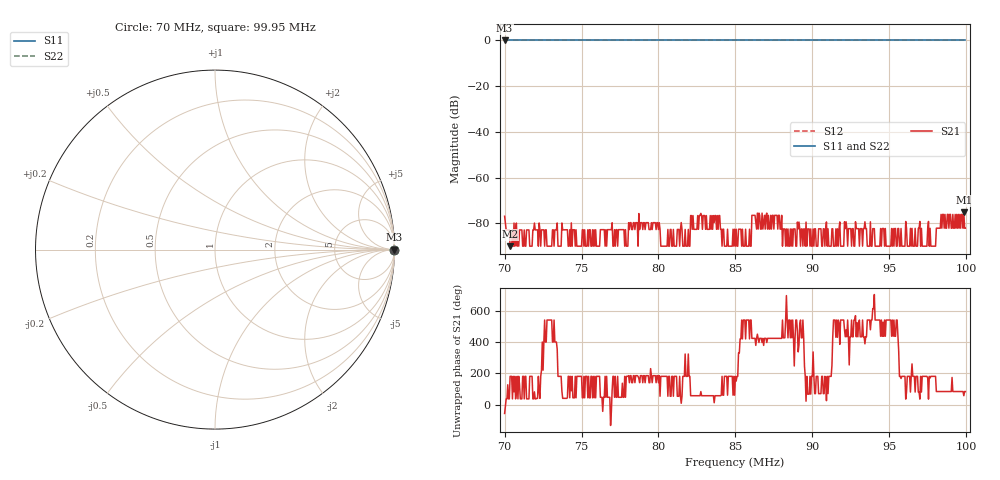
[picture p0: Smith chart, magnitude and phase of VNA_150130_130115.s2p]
! created by knguyen at Fri Jan 30 13:01:15 CST 2015
! generated using vna/J Version 3.1.2
# Hz S DB R 50
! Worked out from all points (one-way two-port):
!   588 points, 70 MHz to 99.95 MHz, reference 50 ohm
!   highest |S21| = -75.14 dB at 99.85 MHz (marker M1); lowest = -90.0 dB at 70.36 MHz (marker M2)
!   lowest |S11| = 0.0 dB at 70 MHz (marker M3)
!   |S11| at or under -10 dB: nowhere
!   |S22| runs from 0.0 to 0.0 dB; largest |S21 - S12| = 1
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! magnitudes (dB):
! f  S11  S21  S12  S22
! 70 MHz  0.0  -76.9  0.0  0.0
! 70.36 MHz  0.0  -90.0  0.0  0.0
! 75 MHz  0.0  -90.0  0.0  0.0
! 80 MHz  0.0  -82.7  0.0  0.0
! 81.94 MHz  0.0  -82.7  0.0  0.0
! 82.19 MHz  0.0  -82.6  0.0  0.0
! 82.4 MHz  0.0  -82.6  0.0  0.0
! 82.86 MHz  0.0  -82.6  0.0  0.0
! 83.16 MHz  0.0  -82.6  0.0  0.0
! 85 MHz  0.0  -90.0  0.0  0.0
! 85.92 MHz  0.0  -82.6  0.0  0.0
! 86.17 MHz  0.0  -76.5  0.0  0.0
! 86.73 MHz  0.0  -75.5  0.0  0.0
! 87.75 MHz  0.0  -82.5  0.0  0.0
! 88.16 MHz  0.0  -82.5  0.0  0.0
! 90 MHz  0.0  -90.0  0.0  0.0
! 95 MHz  0.0  -90.0  0.0  0.0
! 98.21 MHz  0.0  -82.1  0.0  0.0
! 98.88 MHz  0.0  -82.1  0.0  0.0
! 99.13 MHz  0.0  -76.1  0.0  0.0
! 99.85 MHz  0.0  -75.1  0.0  0.0
! 99.95 MHz  0.0  -82.1  0.0  0.0
